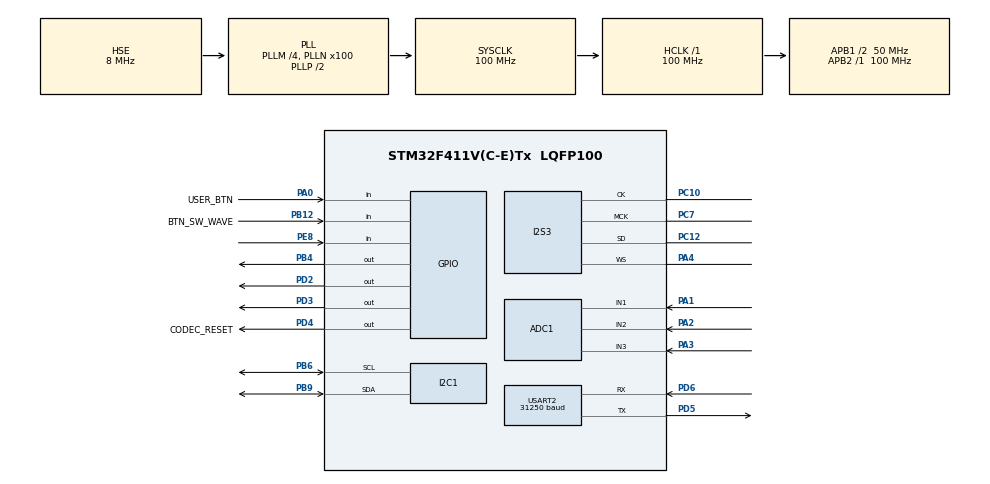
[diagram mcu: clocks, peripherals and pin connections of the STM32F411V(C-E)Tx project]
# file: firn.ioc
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ADC1.Channel-1\#ChannelRegularConversion=ADC_CHANNEL_1
ADC1.Channel-2\#ChannelRegularConversion=ADC_CHANNEL_2
ADC1.Channel-3\#ChannelRegularConversion=ADC_CHANNEL_3
ADC1.ContinuousConvMode=ENABLE
ADC1.DMAContinuousRequests=ENABLE
ADC1.DiscontinuousConvMode=DISABLE
ADC1.NbrOfConversion=3
ADC1.NbrOfConversionFlag=1
ADC1.Rank-1\#ChannelRegularConversion=1
ADC1.Rank-2\#ChannelRegularConversion=2
ADC1.Rank-3\#ChannelRegularConversion=3
ADC1.SamplingTime-1\#ChannelRegularConversion=ADC_SAMPLETIME_84CYCLES
ADC1.SamplingTime-2\#ChannelRegularConversion=ADC_SAMPLETIME_84CYCLES
ADC1.SamplingTime-3\#ChannelRegularConversion=ADC_SAMPLETIME_84CYCLES
ADC1.master=1
Dma.ADC1.1.Direction=DMA_PERIPH_TO_MEMORY
Dma.ADC1.1.FIFOMode=DMA_FIFOMODE_DISABLE
Dma.ADC1.1.Instance=DMA2_Stream0
Dma.ADC1.1.MemDataAlignment=DMA_MDATAALIGN_HALFWORD
Dma.ADC1.1.MemInc=DMA_MINC_ENABLE
Dma.ADC1.1.Mode=DMA_CIRCULAR
Dma.ADC1.1.PeriphDataAlignment=DMA_PDATAALIGN_HALFWORD
Dma.ADC1.1.PeriphInc=DMA_PINC_DISABLE
Dma.ADC1.1.Priority=DMA_PRIORITY_LOW
Dma.Request0=SPI3_TX
Dma.Request1=ADC1
Dma.SPI3_TX.0.Direction=DMA_MEMORY_TO_PERIPH
Dma.SPI3_TX.0.FIFOMode=DMA_FIFOMODE_DISABLE
Dma.SPI3_TX.0.Instance=DMA1_Stream5
Dma.SPI3_TX.0.MemDataAlignment=DMA_MDATAALIGN_HALFWORD
Dma.SPI3_TX.0.MemInc=DMA_MINC_ENABLE
Dma.SPI3_TX.0.Mode=DMA_CIRCULAR
Dma.SPI3_TX.0.PeriphDataAlignment=DMA_PDATAALIGN_HALFWORD
Dma.SPI3_TX.0.PeriphInc=DMA_PINC_DISABLE
Dma.SPI3_TX.0.Priority=DMA_PRIORITY_LOW
I2S3.AudioFreq=I2S_AUDIOFREQ_48K
I2S3.ErrorAudioFreq=1.72 %
I2S3.FullDuplexMode=I2S_FULLDUPLEXMODE_DISABLE
I2S3.Instance=SPI$Index
I2S3.RealAudioFreq=48.828 KHz
I2S3.VirtualMode=I2S_MODE_MASTER
Mcu.Family=STM32F4
Mcu.Name=STM32F411V(C-E)Tx
Mcu.Package=LQFP100
NVIC.DMA1_Stream5_IRQn=true\:1\:0\:true\:false\:true\:false\:true\:true
NVIC.DMA2_Stream0_IRQn=true\:0\:0\:false\:false\:true\:false\:true\:true
NVIC.PriorityGroup=NVIC_PRIORITYGROUP_4
NVIC.USART2_IRQn=true\:0\:0\:false\:false\:true\:true\:true\:true
PA0-WKUP.GPIO_Label=USER_BTN
PA0-WKUP.Signal=GPIO_Input
PA1.Signal=ADCx_IN1
PA13.Mode=Serial_Wire
PA13.Signal=SYS_JTMS-SWDIO
PA14.Mode=Serial_Wire
PA14.Signal=SYS_JTCK-SWCLK
PA2.Signal=ADCx_IN2
PA3.Signal=ADCx_IN3
PA4.Mode=Half_Duplex_Master
PA4.Signal=I2S3_WS
PB12.GPIO_Label=BTN_SW_WAVE
PB12.GPIO_PuPd=GPIO_PULLUP
PB12.Signal=GPIO_Input
PB4.Signal=GPIO_Output
PB6.Mode=I2C
PB6.Signal=I2C1_SCL
PB9.Mode=I2C
PB9.Signal=I2C1_SDA
PC10.Mode=Half_Duplex_Master
PC10.Signal=I2S3_CK
PC12.Mode=Half_Duplex_Master
PC12.Signal=I2S3_SD
PC7.Mode=Master_Clock_Activated
PC7.Signal=I2S3_MCK
PD2.Signal=GPIO_Output
PD3.Signal=GPIO_Output
PD4.GPIO_Label=CODEC_RESET
PD4.Signal=GPIO_Output
PD5.Mode=Asynchronous
PD5.Signal=USART2_TX
PD6.Mode=Asynchronous
PD6.Signal=USART2_RX
PE8.Signal=GPIO_Input
PH0\ -\ OSC_IN.Mode=HSE-External-Oscillator
PH0\ -\ OSC_IN.Signal=RCC_OSC_IN
PH1\ -\ OSC_OUT.Mode=HSE-External-Oscillator
PH1\ -\ OSC_OUT.Signal=RCC_OSC_OUT
ProjectManager.HeapSize=0x200
ProjectManager.StackSize=0x400
ProjectManager.TargetToolchain=CMake
RCC.48MHZClocksFreq_Value=50000000
RCC.AHBFreq_Value=100000000
RCC.APB1CLKDivider=RCC_HCLK_DIV2
RCC.APB1Freq_Value=50000000
RCC.APB1TimFreq_Value=100000000
RCC.APB2Freq_Value=100000000
RCC.APB2TimFreq_Value=100000000
RCC.CortexFreq_Value=100000000
RCC.HCLKFreq_Value=100000000
RCC.HSE_VALUE=8000000
RCC.HSI_VALUE=16000000
RCC.LSE_VALUE=32768
RCC.PLLI2SM=8
RCC.PLLI2SN=200
RCC.PLLM=4
RCC.PLLN=100
RCC.PLLSourceVirtual=RCC_PLLSOURCE_HSE
RCC.SYSCLKFreq_VALUE=100000000
RCC.SYSCLKSource=RCC_SYSCLKSOURCE_PLLCLK
RCC.VCOOutputFreq_Value=200000000
SH.ADCx_IN1.0=ADC1_IN1,IN1
SH.ADCx_IN2.0=ADC1_IN2,IN2
SH.ADCx_IN3.0=ADC1_IN3,IN3
USART2.BaudRate=31250
USART2.VirtualMode=VM_ASYNC
board=custom

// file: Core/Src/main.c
/* USER CODE BEGIN Header */
/**
  ******************************************************************************
  * @file           : main.c
  * @brief          : Main program body
  ******************************************************************************
  * @attention
  *
  * Copyright (c) 2026 STMicroelectronics.
  * All rights reserved.
  *
  * This software is licensed under terms that can be found in the LICENSE file
  * in the root directory of this software component.
  * If no LICENSE file comes with this software, it is provided AS-IS.
  *
  ******************************************************************************
  */
/* USER CODE END Header */
#include "main.h"

/* USER CODE BEGIN Includes */

#include "cs43l22.h"
#include "waveleds.h"
#include "synth.h"
#include "envelope.h"
#include "midi.h"
#include <math.h>

/* USER CODE END Includes */

ADC_HandleTypeDef hadc1;
DMA_HandleTypeDef hdma_adc1;

I2C_HandleTypeDef hi2c1;

I2S_HandleTypeDef hi2s3;
DMA_HandleTypeDef hdma_spi3_tx;

UART_HandleTypeDef huart2;

/* USER CODE BEGIN PV */

#define AUDIO_FRAMES 256
static int16_t audio_buf[AUDIO_FRAMES * 2 * 2];

#define NUM_POTS 3
static volatile uint16_t pot_raw[NUM_POTS]; // dma writes here

#define NUM_MUX_POTS 5
static float mux_pot[NUM_MUX_POTS]; // pots on AMUX A0..A3, output goes to PA2 (pot_raw[1])

/* USER CODE END PV */

void SystemClock_Config(void);
static void MX_GPIO_Init(void);
static void MX_DMA_Init(void);
static void MX_I2S3_Init(void);
static void MX_ADC1_Init(void);
static void MX_I2C1_Init(void);
static void MX_USART2_UART_Init(void);

/* USER CODE BEGIN 0 */

// Select AMUX channel: S0 = PD2, S1 = PB4, S2 = PD3
static void Mux_Select(uint8_t ch)
{
  HAL_GPIO_WritePin(GPIOD, GPIO_PIN_2, (ch & 1) ? GPIO_PIN_SET : GPIO_PIN_RESET);
  HAL_GPIO_WritePin(GPIOB, GPIO_PIN_4, (ch & 2) ? GPIO_PIN_SET : GPIO_PIN_RESET);
  HAL_GPIO_WritePin(GPIOD, GPIO_PIN_3, (ch & 4) ? GPIO_PIN_SET : GPIO_PIN_RESET);
}

// Read all AMUX pots, each needs a short wait so the ADC scan picks up the new channel
static void Mux_ReadPots(void)
{
  for (uint8_t ch = 0; ch < NUM_MUX_POTS; ch++) {
    Mux_Select(ch);
    for (volatile int i = 0; i < 500; i++);  // ~ a few ADC scans of settling time
    mux_pot[ch] = pot_raw[1] / 4095.0f;
  }
}

/* USER CODE END 0 */

int main(void)
{

  /* MCU Configuration--------------------------------------------------------*/

  /* Reset of all peripherals, Initializes the Flash interface and the Systick. */
  HAL_Init();

  /* Configure the system clock */
  SystemClock_Config();

  /* Initialize all configured peripherals */
  MX_GPIO_Init();
  MX_DMA_Init();
  MX_I2S3_Init();
  MX_ADC1_Init();
  MX_I2C1_Init();
  MX_USART2_UART_Init();
  /* USER CODE BEGIN 2 */

  // Prefill the audio buffer before the codec starts
  Synth_Init();
  Synth_SetFrequency(440.0f);
  Synth_Render(audio_buf, AUDIO_FRAMES * 2);

  if (CS43L22_Init(&hi2c1) != HAL_OK) {
    Error_Handler();
  }

  // Start I2S DMA transfer to audio codec
  HAL_I2S_Transmit_DMA(&hi2s3, (uint16_t *)audio_buf, AUDIO_FRAMES * 2 * 2);
  HAL_Delay(10);
  CS43L22_PowerOn();

  // ADC is measuring continuously, DMA is writing to pot_raw
  HAL_ADC_Start_DMA(&hadc1, (uint32_t *)pot_raw, NUM_POTS);
  __HAL_DMA_DISABLE_IT(&hdma_adc1, DMA_IT_TC | DMA_IT_HT);  // no interrupts needed, avoids IRQ flood

  // Start receiving MIDI on USART2 (RX = PD6)
  Midi_Init(&huart2);

  // Waveform LEDs on the MCP23017
  if (WaveLeds_Init(&hi2c1) != HAL_OK) {
    Error_Handler();
  }

  /* USER CODE END 2 */

  /* Infinite loop */
  /* USER CODE BEGIN WHILE */
  short button_pressed = 0;
  static const uint8_t waveformOptions[] = {
    SYNTH_WAVEFORM_SINE,
    SYNTH_WAVEFORM_SAWTOOTH,
    SYNTH_WAVEFORM_SQUARE,
    SYNTH_WAVEFORM_TRIANGLE
  };
  uint8_t waveformIndex = 0;
  uint32_t last_press = 0;
  Synth_SetWaveform(waveformOptions[waveformIndex]);
  if (WaveLeds_Show(waveformOptions[waveformIndex]) != HAL_OK) {
    Error_Handler();
  }

  while (1)
  {
    Mux_ReadPots();  // not used yet

    float pot1 = pot_raw[0] / 4095.0f;   /* PA1 */
    float pot2 = pot_raw[1] / 4095.0f;   /* PA2 */
    float pot3 = pot_raw[2] / 4095.0f;   /* PA3 */

    Synth_SetAmplitude(mux_pot[0]); // fixed loud
    //Synth_SetAmplitude(pot1 * pot1);
    Synth_SetCutoff(22.0f * powf(2.0f, 7.3f * mux_pot[4]));
    //Synth_SetCutoff(22.0f * powf(2.0f, 7.3f * mux_pot[1]));  // fun to group tape delay with svf
    Synth_SetTapeDelayTime(0.02f * powf(25.0f, mux_pot[1]));   // 20 ... 500 ms tape echo
    //Synth_SetTapeDelayTime(0.1f);
    Synth_SetShape(mux_pot[3]);
    //Synth_SetShapeLfoRate(mux_pot[3]); // sounds a bit shit!
    //Synth_SetFrequency(20.0f * powf(2.0f, 5.0f * mux_pot[2]));
    Synth_SetFrequency(Midi_GetFrequency()); // frequency from the last MIDI key
    Synth_SetResonance(0.707f * powf(14.0f, mux_pot[2]));   // 0.707 (flat) ... ~10 (strong peak)

    if(HAL_GPIO_ReadPin(USER_BTN_GPIO_Port, USER_BTN_Pin) == GPIO_PIN_SET || Midi_GetGate()) {
      // button pressed or MIDI key pressed
      Env_Gate(1);
    } else {
      // button released
      Env_Gate(0);
    }

    // Waveform button has a pull-up, so pressed = RESET.
    // Switch only on the press edge, ignore bouncing for 50 ms.
    short wave_btn = HAL_GPIO_ReadPin(BTN_SW_WAVE_GPIO_Port, BTN_SW_WAVE_Pin) == GPIO_PIN_RESET;
    if (wave_btn && !button_pressed && HAL_GetTick() - last_press > 50) {
      last_press = HAL_GetTick();
      waveformIndex = (waveformIndex + 1) % 4;
      Synth_SetWaveform(waveformOptions[waveformIndex]);
      if (WaveLeds_Show(waveformOptions[waveformIndex]) != HAL_OK) {
        Error_Handler();
      }
    }
    button_pressed = wave_btn;

    HAL_Delay(1);

    /* USER CODE END WHILE */

  }
}

void SystemClock_Config(void)
{
  RCC_OscInitTypeDef RCC_OscInitStruct = {0};
  RCC_ClkInitTypeDef RCC_ClkInitStruct = {0};

  /** Configure the main internal regulator output voltage
  */
  __HAL_RCC_PWR_CLK_ENABLE();
  __HAL_PWR_VOLTAGESCALING_CONFIG(PWR_REGULATOR_VOLTAGE_SCALE1);

  /** Initializes the RCC Oscillators according to the specified parameters
  * in the RCC_OscInitTypeDef structure.
  */
  RCC_OscInitStruct.OscillatorType = RCC_OSCILLATORTYPE_HSE;
  RCC_OscInitStruct.HSEState = RCC_HSE_ON;
  RCC_OscInitStruct.PLL.PLLState = RCC_PLL_ON;
  RCC_OscInitStruct.PLL.PLLSource = RCC_PLLSOURCE_HSE;
  RCC_OscInitStruct.PLL.PLLM = 4;
  RCC_OscInitStruct.PLL.PLLN = 100;
  RCC_OscInitStruct.PLL.PLLP = RCC_PLLP_DIV2;
  RCC_OscInitStruct.PLL.PLLQ = 4;
  if (HAL_RCC_OscConfig(&RCC_OscInitStruct) != HAL_OK)
  {
    Error_Handler();
  }

  /** Initializes the CPU, AHB and APB buses clocks
  */
  RCC_ClkInitStruct.ClockType = RCC_CLOCKTYPE_HCLK|RCC_CLOCKTYPE_SYSCLK
                              |RCC_CLOCKTYPE_PCLK1|RCC_CLOCKTYPE_PCLK2;
  RCC_ClkInitStruct.SYSCLKSource = RCC_SYSCLKSOURCE_PLLCLK;
  RCC_ClkInitStruct.AHBCLKDivider = RCC_SYSCLK_DIV1;
  RCC_ClkInitStruct.APB1CLKDivider = RCC_HCLK_DIV2;
  RCC_ClkInitStruct.APB2CLKDivider = RCC_HCLK_DIV1;

  if (HAL_RCC_ClockConfig(&RCC_ClkInitStruct, FLASH_LATENCY_3) != HAL_OK)
  {
    Error_Handler();
  }
}

static void MX_ADC1_Init(void)
{

  ADC_ChannelConfTypeDef sConfig = {0};

  /** Configure the global features of the ADC (Clock, Resolution, Data Alignment and number of conversion)
  */
  hadc1.Instance = ADC1;
  hadc1.Init.ClockPrescaler = ADC_CLOCK_SYNC_PCLK_DIV4;
  hadc1.Init.Resolution = ADC_RESOLUTION_12B;
  hadc1.Init.ScanConvMode = ENABLE;
  hadc1.Init.ContinuousConvMode = ENABLE;
  hadc1.Init.DiscontinuousConvMode = DISABLE;
  hadc1.Init.ExternalTrigConvEdge = ADC_EXTERNALTRIGCONVEDGE_NONE;
  hadc1.Init.ExternalTrigConv = ADC_SOFTWARE_START;
  hadc1.Init.DataAlign = ADC_DATAALIGN_RIGHT;
  hadc1.Init.NbrOfConversion = 3;
  hadc1.Init.DMAContinuousRequests = ENABLE;
  hadc1.Init.EOCSelection = ADC_EOC_SINGLE_CONV;
  if (HAL_ADC_Init(&hadc1) != HAL_OK)
  {
    Error_Handler();
  }

  /** Configure for the selected ADC regular channel its corresponding rank in the sequencer and its sample time.
  */
  sConfig.Channel = ADC_CHANNEL_1;
  sConfig.Rank = 1;
  sConfig.SamplingTime = ADC_SAMPLETIME_84CYCLES;
  if (HAL_ADC_ConfigChannel(&hadc1, &sConfig) != HAL_OK)
  {
    Error_Handler();
  }

  /** Configure for the selected ADC regular channel its corresponding rank in the sequencer and its sample time.
  */
  sConfig.Channel = ADC_CHANNEL_2;
  sConfig.Rank = 2;
  if (HAL_ADC_ConfigChannel(&hadc1, &sConfig) != HAL_OK)
  {
    Error_Handler();
  }

  /** Configure for the selected ADC regular channel its corresponding rank in the sequencer and its sample time.
  */
  sConfig.Channel = ADC_CHANNEL_3;
  sConfig.Rank = 3;
  if (HAL_ADC_ConfigChannel(&hadc1, &sConfig) != HAL_OK)
  {
    Error_Handler();
  }

}

static void MX_I2C1_Init(void)
{

  hi2c1.Instance = I2C1;
  hi2c1.Init.ClockSpeed = 100000;
  hi2c1.Init.DutyCycle = I2C_DUTYCYCLE_2;
  hi2c1.Init.OwnAddress1 = 0;
  hi2c1.Init.AddressingMode = I2C_ADDRESSINGMODE_7BIT;
  hi2c1.Init.DualAddressMode = I2C_DUALADDRESS_DISABLE;
  hi2c1.Init.OwnAddress2 = 0;
  hi2c1.Init.GeneralCallMode = I2C_GENERALCALL_DISABLE;
  hi2c1.Init.NoStretchMode = I2C_NOSTRETCH_DISABLE;
  if (HAL_I2C_Init(&hi2c1) != HAL_OK)
  {
    Error_Handler();
  }

}

static void MX_I2S3_Init(void)
{

  hi2s3.Instance = SPI3;
  hi2s3.Init.Mode = I2S_MODE_MASTER_TX;
  hi2s3.Init.Standard = I2S_STANDARD_PHILIPS;
  hi2s3.Init.DataFormat = I2S_DATAFORMAT_16B;
  hi2s3.Init.MCLKOutput = I2S_MCLKOUTPUT_ENABLE;
  hi2s3.Init.AudioFreq = I2S_AUDIOFREQ_48K;
  hi2s3.Init.CPOL = I2S_CPOL_LOW;
  hi2s3.Init.ClockSource = I2S_CLOCK_PLL;
  hi2s3.Init.FullDuplexMode = I2S_FULLDUPLEXMODE_DISABLE;
  if (HAL_I2S_Init(&hi2s3) != HAL_OK)
  {
    Error_Handler();
  }

}

static void MX_USART2_UART_Init(void)
{

  huart2.Instance = USART2;
  huart2.Init.BaudRate = 31250;
  huart2.Init.WordLength = UART_WORDLENGTH_8B;
  huart2.Init.StopBits = UART_STOPBITS_1;
  huart2.Init.Parity = UART_PARITY_NONE;
  huart2.Init.Mode = UART_MODE_TX_RX;
  huart2.Init.HwFlowCtl = UART_HWCONTROL_NONE;
  huart2.Init.OverSampling = UART_OVERSAMPLING_16;
  if (HAL_UART_Init(&huart2) != HAL_OK)
  {
    Error_Handler();
  }

}

static void MX_DMA_Init(void)
{

  /* DMA controller clock enable */
  __HAL_RCC_DMA1_CLK_ENABLE();
  __HAL_RCC_DMA2_CLK_ENABLE();

  /* DMA interrupt init */
  /* DMA1_Stream5_IRQn interrupt configuration */
  HAL_NVIC_SetPriority(DMA1_Stream5_IRQn, 1, 0);
  HAL_NVIC_EnableIRQ(DMA1_Stream5_IRQn);
  /* DMA2_Stream0_IRQn interrupt configuration */
  HAL_NVIC_SetPriority(DMA2_Stream0_IRQn, 0, 0);
  HAL_NVIC_EnableIRQ(DMA2_Stream0_IRQn);

}

static void MX_GPIO_Init(void)
{
  GPIO_InitTypeDef GPIO_InitStruct = {0};

  /* GPIO Ports Clock Enable */
  __HAL_RCC_GPIOH_CLK_ENABLE();
  __HAL_RCC_GPIOA_CLK_ENABLE();
  __HAL_RCC_GPIOE_CLK_ENABLE();
  __HAL_RCC_GPIOB_CLK_ENABLE();
  __HAL_RCC_GPIOC_CLK_ENABLE();
  __HAL_RCC_GPIOD_CLK_ENABLE();

  /*Configure GPIO pin Output Level */
  HAL_GPIO_WritePin(GPIOD, GPIO_PIN_2|GPIO_PIN_3|CODEC_RESET_Pin, GPIO_PIN_RESET);

  /*Configure GPIO pin Output Level */
  HAL_GPIO_WritePin(GPIOB, GPIO_PIN_4, GPIO_PIN_RESET);

  /*Configure GPIO pin : USER_BTN_Pin */
  GPIO_InitStruct.Pin = USER_BTN_Pin;
  GPIO_InitStruct.Mode = GPIO_MODE_INPUT;
  GPIO_InitStruct.Pull = GPIO_NOPULL;
  HAL_GPIO_Init(USER_BTN_GPIO_Port, &GPIO_InitStruct);

  /*Configure GPIO pin : PE8 */
  GPIO_InitStruct.Pin = GPIO_PIN_8;
  GPIO_InitStruct.Mode = GPIO_MODE_INPUT;
  GPIO_InitStruct.Pull = GPIO_NOPULL;
  HAL_GPIO_Init(GPIOE, &GPIO_InitStruct);

  /*Configure GPIO pin : BTN_SW_WAVE_Pin */
  GPIO_InitStruct.Pin = BTN_SW_WAVE_Pin;
  GPIO_InitStruct.Mode = GPIO_MODE_INPUT;
  GPIO_InitStruct.Pull = GPIO_PULLUP;
  HAL_GPIO_Init(BTN_SW_WAVE_GPIO_Port, &GPIO_InitStruct);

  /*Configure GPIO pins : PD2 PD3 CODEC_RESET_Pin */
  GPIO_InitStruct.Pin = GPIO_PIN_2|GPIO_PIN_3|CODEC_RESET_Pin;
  GPIO_InitStruct.Mode = GPIO_MODE_OUTPUT_PP;
  GPIO_InitStruct.Pull = GPIO_NOPULL;
  GPIO_InitStruct.Speed = GPIO_SPEED_FREQ_LOW;
  HAL_GPIO_Init(GPIOD, &GPIO_InitStruct);

  /*Configure GPIO pin : PB4 */
  GPIO_InitStruct.Pin = GPIO_PIN_4;
  GPIO_InitStruct.Mode = GPIO_MODE_OUTPUT_PP;
  GPIO_InitStruct.Pull = GPIO_NOPULL;
  GPIO_InitStruct.Speed = GPIO_SPEED_FREQ_LOW;
  HAL_GPIO_Init(GPIOB, &GPIO_InitStruct);

}

/* USER CODE BEGIN 4 */

// Double buffering: DMA plays one half while the other half is rendered
void HAL_I2S_TxHalfCpltCallback(I2S_HandleTypeDef *hi2s)
{
  if (hi2s->Instance == SPI3) {
    Synth_Render(&audio_buf[0], AUDIO_FRAMES);
  }
}

void HAL_I2S_TxCpltCallback(I2S_HandleTypeDef *hi2s)
{
  if (hi2s->Instance == SPI3) {
    Synth_Render(&audio_buf[AUDIO_FRAMES * 2], AUDIO_FRAMES);
  }
}

// MIDI: one byte received
void HAL_UART_RxCpltCallback(UART_HandleTypeDef *huart)
{
  Midi_RxCallback(huart);
}

// MIDI: UART error, start receiving again
void HAL_UART_ErrorCallback(UART_HandleTypeDef *huart)
{
  Midi_ErrorCallback(huart);
}

/* USER CODE END 4 */

void Error_Handler(void)
{
  __disable_irq();
  while (1)
  {
  }
}
